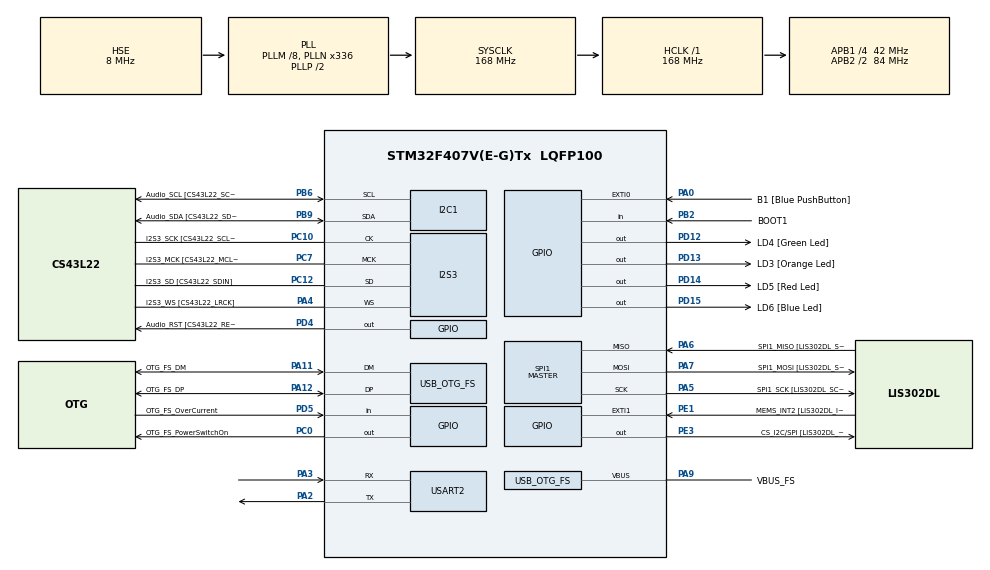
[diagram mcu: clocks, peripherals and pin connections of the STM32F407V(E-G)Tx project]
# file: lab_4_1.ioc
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FREERTOS.Tasks01=defaultTask,0,128,StartDefaultTask,Default,NULL,Dynamic,NULL,NULL
I2S3.AudioFreq-Half_Duplex_Master=I2S_AUDIOFREQ_96K
I2S3.ErrorAudioFreq=-2.34 %
I2S3.ErrorAudioFreq-Half_Duplex_Master=0.8 %
I2S3.FullDuplexMode=I2S_FULLDUPLEXMODE_DISABLE
I2S3.Instance=SPI$Index
I2S3.RealAudioFreq=93.75 KHz
I2S3.RealAudioFreq-Half_Duplex_Master=96.774 KHz
I2S3.VirtualMode=I2S_MODE_MASTER
Mcu.Family=STM32F4
Mcu.Name=STM32F407V(E-G)Tx
Mcu.Package=LQFP100
NVIC.OTG_FS_IRQn=true\:5\:0\:false\:false\:true\:true\:true\:true
NVIC.PriorityGroup=NVIC_PRIORITYGROUP_4
PA0-WKUP.GPIO_Label=B1 [Blue PushButton]
PA0-WKUP.GPIO_ModeDefaultEXTI=GPIO_MODE_EVT_RISING
PA0-WKUP.GPIO_PuPd=GPIO_NOPULL
PA0-WKUP.Signal=GPXTI0
PA10.GPIO_Label=OTG_FS_ID
PA10.GPIO_Mode=GPIO_MODE_AF_PP
PA10.GPIO_PuPd=GPIO_NOPULL
PA10.GPIO_Speed=GPIO_SPEED_FREQ_LOW
PA10.Signal=USB_OTG_FS_ID
PA11.GPIO_Label=OTG_FS_DM
PA11.GPIO_Mode=GPIO_MODE_AF_PP
PA11.GPIO_PuPd=GPIO_NOPULL
PA11.GPIO_Speed=GPIO_SPEED_FREQ_LOW
PA11.Mode=Host_Only
PA11.Signal=USB_OTG_FS_DM
PA12.GPIO_Label=OTG_FS_DP
PA12.GPIO_Mode=GPIO_MODE_AF_PP
PA12.GPIO_PuPd=GPIO_NOPULL
PA12.GPIO_Speed=GPIO_SPEED_FREQ_LOW
PA12.Mode=Host_Only
PA12.Signal=USB_OTG_FS_DP
PA13.GPIO_Label=SWDIO
PA13.Mode=Serial_Wire
PA13.Signal=SYS_JTMS-SWDIO
PA14.GPIO_Label=SWCLK
PA14.Mode=Serial_Wire
PA14.Signal=SYS_JTCK-SWCLK
PA2.Mode=Asynchronous
PA2.Signal=USART2_TX
PA3.Mode=Asynchronous
PA3.Signal=USART2_RX
PA4.GPIO_Label=I2S3_WS [CS43L22_LRCK]
PA4.GPIO_Mode=GPIO_MODE_AF_PP
PA4.GPIO_PuPd=GPIO_NOPULL
PA4.GPIO_Speed=GPIO_SPEED_FREQ_LOW
PA4.Mode=Half_Duplex_Master
PA4.Signal=I2S3_WS
PA5.GPIO_Label=SPI1_SCK [LIS302DL_SCL/SPC]
PA5.GPIO_Mode=GPIO_MODE_AF_PP
PA5.GPIO_PuPd=GPIO_NOPULL
PA5.GPIO_Speed=GPIO_SPEED_FREQ_LOW
PA5.Mode=Full_Duplex_Master
PA5.Signal=SPI1_SCK
PA6.GPIO_Label=SPI1_MISO [LIS302DL_SDO]
PA6.GPIO_Mode=GPIO_MODE_AF_PP
PA6.GPIO_PuPd=GPIO_NOPULL
PA6.GPIO_Speed=GPIO_SPEED_FREQ_LOW
PA6.Mode=Full_Duplex_Master
PA6.Signal=SPI1_MISO
PA7.GPIO_Label=SPI1_MOSI [LIS302DL_SDA/SDI/SDO]
PA7.GPIO_Mode=GPIO_MODE_AF_PP
PA7.GPIO_PuPd=GPIO_NOPULL
PA7.GPIO_Speed=GPIO_SPEED_FREQ_LOW
PA7.Mode=Full_Duplex_Master
PA7.Signal=SPI1_MOSI
PA9.GPIO_Label=VBUS_FS
PA9.GPIO_Mode=GPIO_MODE_INPUT
PA9.GPIO_PuPd=GPIO_NOPULL
PA9.Mode=Activate_VBUS
PA9.Signal=USB_OTG_FS_VBUS
PB10.GPIO_Label=CLK_IN [MP45DT02_CLK]
PB10.GPIO_Mode=GPIO_MODE_AF_PP
PB10.GPIO_PuPd=GPIO_NOPULL
PB10.GPIO_Speed=GPIO_SPEED_FREQ_LOW
PB10.Signal=I2S2_CK
PB2.GPIO_Label=BOOT1
PB2.GPIO_Mode=GPIO_MODE_INPUT
PB2.GPIO_PuPd=GPIO_NOPULL
PB2.Signal=GPIO_Input
PB3.GPIO_Label=SWO
PB3.Signal=SYS_JTDO-SWO
PB6.GPIO_Label=Audio_SCL [CS43L22_SCL]
PB6.GPIO_Mode=GPIO_MODE_AF_OD
PB6.GPIO_Pu=GPIO_PULLUP
PB6.GPIO_PuPd=GPIO_NOPULL
PB6.GPIO_Speed=GPIO_SPEED_FREQ_LOW
PB6.Mode=I2C
PB6.Signal=I2C1_SCL
PB9.GPIO_Label=Audio_SDA [CS43L22_SDA]
PB9.GPIO_Mode=GPIO_MODE_AF_OD
PB9.GPIO_Pu=GPIO_PULLUP
PB9.GPIO_PuPd=GPIO_NOPULL
PB9.GPIO_Speed=GPIO_SPEED_FREQ_LOW
PB9.Mode=I2C
PB9.Signal=I2C1_SDA
PC0.GPIO_Label=OTG_FS_PowerSwitchOn
PC0.GPIO_PuPd=GPIO_NOPULL
PC0.GPIO_Speed=GPIO_SPEED_FREQ_LOW
PC0.PinState=GPIO_PIN_SET
PC0.Signal=GPIO_Output
PC10.GPIO_Label=I2S3_SCK [CS43L22_SCLK]
PC10.GPIO_Mode=GPIO_MODE_AF_PP
PC10.GPIO_PuPd=GPIO_NOPULL
PC10.GPIO_Speed=GPIO_SPEED_FREQ_LOW
PC10.Mode=Half_Duplex_Master
PC10.Signal=I2S3_CK
PC12.GPIO_Label=I2S3_SD [CS43L22_SDIN]
PC12.GPIO_Mode=GPIO_MODE_AF_PP
PC12.GPIO_PuPd=GPIO_NOPULL
PC12.GPIO_Speed=GPIO_SPEED_FREQ_LOW
PC12.Mode=Half_Duplex_Master
PC12.Signal=I2S3_SD
PC14-OSC32_IN.GPIO_Label=PC14-OSC32_IN
PC14-OSC32_IN.Mode=LSE-External-Oscillator
PC14-OSC32_IN.Signal=RCC_OSC32_IN
PC15-OSC32_OUT.GPIO_Label=PC15-OSC32_OUT
PC15-OSC32_OUT.Mode=LSE-External-Oscillator
PC15-OSC32_OUT.Signal=RCC_OSC32_OUT
PC3.GPIO_Label=PDM_OUT [MP45DT02_DOUT]
PC3.GPIO_Mode=GPIO_MODE_AF_PP
PC3.GPIO_PuPd=GPIO_NOPULL
PC3.GPIO_Speed=GPIO_SPEED_FREQ_LOW
PC3.Signal=I2S2_SD
PC7.GPIO_Label=I2S3_MCK [CS43L22_MCLK]
PC7.GPIO_Mode=GPIO_MODE_AF_PP
PC7.GPIO_PuPd=GPIO_NOPULL
PC7.GPIO_Speed=GPIO_SPEED_FREQ_LOW
PC7.Mode=Master_Clock_Activated
PC7.Signal=I2S3_MCK
PD12.GPIO_Label=LD4 [Green Led]
PD12.GPIO_PuPd=GPIO_NOPULL
PD12.GPIO_Speed=GPIO_SPEED_FREQ_LOW
PD12.Signal=GPIO_Output
PD13.GPIO_Label=LD3 [Orange Led]
PD13.GPIO_PuPd=GPIO_NOPULL
PD13.GPIO_Speed=GPIO_SPEED_FREQ_LOW
PD13.Signal=GPIO_Output
PD14.GPIO_Label=LD5 [Red Led]
PD14.GPIO_PuPd=GPIO_NOPULL
PD14.GPIO_Speed=GPIO_SPEED_FREQ_LOW
PD14.Signal=GPIO_Output
PD15.GPIO_Label=LD6 [Blue Led]
PD15.GPIO_PuPd=GPIO_NOPULL
PD15.GPIO_Speed=GPIO_SPEED_FREQ_LOW
PD15.Signal=GPIO_Output
PD4.GPIO_Label=Audio_RST [CS43L22_RESET]
PD4.GPIO_PuPd=GPIO_NOPULL
PD4.GPIO_Speed=GPIO_SPEED_FREQ_LOW
PD4.Signal=GPIO_Output
PD5.GPIO_Label=OTG_FS_OverCurrent
PD5.GPIO_Mode=GPIO_MODE_INPUT
PD5.GPIO_PuPd=GPIO_NOPULL
PD5.Signal=GPIO_Input
PE1.GPIO_Label=MEMS_INT2 [LIS302DL_INT2]
PE1.GPIO_ModeDefaultEXTI=GPIO_MODE_EVT_RISING
PE1.GPIO_PuPd=GPIO_NOPULL
PE1.Signal=GPXTI1
PE3.GPIO_Label=CS_I2C/SPI [LIS302DL_CS_I2C/SPI]
PE3.GPIO_PuPd=GPIO_NOPULL
PE3.GPIO_Speed=GPIO_SPEED_FREQ_LOW
PE3.Signal=GPIO_Output
PH0-OSC_IN.GPIO_Label=PH0-OSC_IN
PH0-OSC_IN.Mode=HSE-External-Oscillator
PH0-OSC_IN.Signal=RCC_OSC_IN
PH1-OSC_OUT.GPIO_Label=PH1-OSC_OUT
PH1-OSC_OUT.Mode=HSE-External-Oscillator
PH1-OSC_OUT.Signal=RCC_OSC_OUT
ProjectManager.HeapSize=0x200
ProjectManager.StackSize=0x400
ProjectManager.TargetToolchain=STM32CubeIDE
RCC.48MHZClocksFreq_Value=48000000
RCC.AHBFreq_Value=168000000
RCC.APB1CLKDivider=RCC_HCLK_DIV4
RCC.APB1Freq_Value=42000000
RCC.APB1TimFreq_Value=84000000
RCC.APB2CLKDivider=RCC_HCLK_DIV2
RCC.APB2Freq_Value=84000000
RCC.APB2TimFreq_Value=168000000
RCC.CortexFreq_Value=168000000
RCC.HCLKFreq_Value=168000000
RCC.HSE_VALUE=8000000
RCC.HSI_VALUE=16000000
RCC.PLLM=8
RCC.PLLN=336
RCC.PLLQ=7
RCC.SYSCLKFreq_VALUE=168000000
RCC.SYSCLKSource=RCC_SYSCLKSOURCE_PLLCLK
RCC.VCOOutputFreq_Value=336000000
SPI1.BaudRatePrescaler-Full_Duplex_Master=SPI_BAUDRATEPRESCALER_2
SPI1.CalculateBaudRate-Full_Duplex_Master=42.0 MBits/s
SPI1.Direction=SPI_DIRECTION_2LINES
SPI1.Mode=SPI_MODE_MASTER
SPI1.Mode-Full_Duplex_Master=SPI_MODE_MASTER
SPI1.VirtualType=VM_MASTER
USART2.VirtualMode=VM_ASYNC
USB_HOST.BSP.number=1
USB_HOST.USBH_HandleTypeDef-CDC_FS=hUsbHostFS
USB_HOST.USBH_USE_OS-CDC_FS=0
USB_HOST.VirtualModeFS=Cdc
USB_HOST0.BSP.STBoard=false
USB_HOST0.BSP.api=Unknown
USB_HOST0.BSP.i2caddr=0
USB_HOST0.BSP.i2creg=0
USB_HOST0.BSP.instance=PC0
USB_HOST0.BSP.ip=GPIO
USB_HOST0.BSP.mode=Output
USB_HOST0.BSP.name=Drive_VBUS_FS
USB_HOST0.BSP.solution=PC0
USB_OTG_FS.VirtualMode=Host_Only
USB_OTG_FS.phy_itface=HCD_PHY_EMBEDDED
VP_FREERTOS_VS_CMSIS_V1.Mode=CMSIS_V1
VP_USB_HOST_VS_USB_HOST_CDC_FS.Mode=CDC_FS
board=STM32F407G-DISC1

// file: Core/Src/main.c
/* USER CODE BEGIN Header */
/**
 ******************************************************************************
 * @file           : main.c
 * @brief          : Main program body
 ******************************************************************************
 * @attention
 *
 * Copyright (c) 2022 STMicroelectronics.
 * All rights reserved.
 *
 * This software is licensed under terms that can be found in the LICENSE file
 * in the root directory of this software component.
 * If no LICENSE file comes with this software, it is provided AS-IS.
 *
 ******************************************************************************
 */
/* USER CODE END Header */
#include "main.h"
#include "cmsis_os.h"
#include "usb_host.h"

I2C_HandleTypeDef hi2c1;

I2S_HandleTypeDef hi2s3;

SPI_HandleTypeDef hspi1;

UART_HandleTypeDef huart2;

osThreadId defaultTaskHandle;

void SystemClock_Config(void);
static void MX_GPIO_Init(void);
static void MX_I2C1_Init(void);
static void MX_I2S3_Init(void);
static void MX_SPI1_Init(void);
static void MX_USART2_UART_Init(void);
void StartDefaultTask(void const * argument);

/* USER CODE BEGIN 0 */

void led_thread(void const *args) {
	while (1) {
		HAL_GPIO_TogglePin(GPIOD, GPIO_PIN_14);
		osDelay(9);
	}
}

void letterA_thread(void const *args) {
	char c = 'A';
	while (1) {
		HAL_UART_Transmit(&huart2, &c, 1, 100);
		osDelay(50);
	}
}

void letterB_thread(void const *args) {
	char c = 'B';
	while (1) {
		HAL_UART_Transmit(&huart2, &c, 1, 100);
		osDelay(128);
	}
}

/* USER CODE END 0 */

int main(void)
{

  /* MCU Configuration--------------------------------------------------------*/

  /* Reset of all peripherals, Initializes the Flash interface and the Systick. */
  HAL_Init();

  /* Configure the system clock */
  SystemClock_Config();

  /* Initialize all configured peripherals */
  MX_GPIO_Init();
  MX_I2C1_Init();
  MX_I2S3_Init();
  MX_SPI1_Init();
  MX_USART2_UART_Init();

  /* Create the thread(s) */
  /* definition and creation of defaultTask */
  osThreadDef(defaultTask, StartDefaultTask, osPriorityNormal, 0, 128);
  defaultTaskHandle = osThreadCreate(osThread(defaultTask), NULL);

  /* Start scheduler */
  osKernelStart();

  /* We should never get here as control is now taken by the scheduler */
  /* Infinite loop */
	while (1) {

	}
}

void SystemClock_Config(void)
{
  RCC_OscInitTypeDef RCC_OscInitStruct = {0};
  RCC_ClkInitTypeDef RCC_ClkInitStruct = {0};

  /** Configure the main internal regulator output voltage
  */
  __HAL_RCC_PWR_CLK_ENABLE();
  __HAL_PWR_VOLTAGESCALING_CONFIG(PWR_REGULATOR_VOLTAGE_SCALE1);
  /** Initializes the RCC Oscillators according to the specified parameters
  * in the RCC_OscInitTypeDef structure.
  */
  RCC_OscInitStruct.OscillatorType = RCC_OSCILLATORTYPE_HSE;
  RCC_OscInitStruct.HSEState = RCC_HSE_ON;
  RCC_OscInitStruct.PLL.PLLState = RCC_PLL_ON;
  RCC_OscInitStruct.PLL.PLLSource = RCC_PLLSOURCE_HSE;
  RCC_OscInitStruct.PLL.PLLM = 8;
  RCC_OscInitStruct.PLL.PLLN = 336;
  RCC_OscInitStruct.PLL.PLLP = RCC_PLLP_DIV2;
  RCC_OscInitStruct.PLL.PLLQ = 7;
  if (HAL_RCC_OscConfig(&RCC_OscInitStruct) != HAL_OK)
  {
    Error_Handler();
  }
  /** Initializes the CPU, AHB and APB buses clocks
  */
  RCC_ClkInitStruct.ClockType = RCC_CLOCKTYPE_HCLK|RCC_CLOCKTYPE_SYSCLK
                              |RCC_CLOCKTYPE_PCLK1|RCC_CLOCKTYPE_PCLK2;
  RCC_ClkInitStruct.SYSCLKSource = RCC_SYSCLKSOURCE_PLLCLK;
  RCC_ClkInitStruct.AHBCLKDivider = RCC_SYSCLK_DIV1;
  RCC_ClkInitStruct.APB1CLKDivider = RCC_HCLK_DIV4;
  RCC_ClkInitStruct.APB2CLKDivider = RCC_HCLK_DIV2;

  if (HAL_RCC_ClockConfig(&RCC_ClkInitStruct, FLASH_LATENCY_5) != HAL_OK)
  {
    Error_Handler();
  }
}

static void MX_I2C1_Init(void)
{

  hi2c1.Instance = I2C1;
  hi2c1.Init.ClockSpeed = 100000;
  hi2c1.Init.DutyCycle = I2C_DUTYCYCLE_2;
  hi2c1.Init.OwnAddress1 = 0;
  hi2c1.Init.AddressingMode = I2C_ADDRESSINGMODE_7BIT;
  hi2c1.Init.DualAddressMode = I2C_DUALADDRESS_DISABLE;
  hi2c1.Init.OwnAddress2 = 0;
  hi2c1.Init.GeneralCallMode = I2C_GENERALCALL_DISABLE;
  hi2c1.Init.NoStretchMode = I2C_NOSTRETCH_DISABLE;
  if (HAL_I2C_Init(&hi2c1) != HAL_OK)
  {
    Error_Handler();
  }

}

static void MX_I2S3_Init(void)
{

  hi2s3.Instance = SPI3;
  hi2s3.Init.Mode = I2S_MODE_MASTER_TX;
  hi2s3.Init.Standard = I2S_STANDARD_PHILIPS;
  hi2s3.Init.DataFormat = I2S_DATAFORMAT_16B;
  hi2s3.Init.MCLKOutput = I2S_MCLKOUTPUT_ENABLE;
  hi2s3.Init.AudioFreq = I2S_AUDIOFREQ_96K;
  hi2s3.Init.CPOL = I2S_CPOL_LOW;
  hi2s3.Init.ClockSource = I2S_CLOCK_PLL;
  hi2s3.Init.FullDuplexMode = I2S_FULLDUPLEXMODE_DISABLE;
  if (HAL_I2S_Init(&hi2s3) != HAL_OK)
  {
    Error_Handler();
  }

}

static void MX_SPI1_Init(void)
{

  /* SPI1 parameter configuration*/
  hspi1.Instance = SPI1;
  hspi1.Init.Mode = SPI_MODE_MASTER;
  hspi1.Init.Direction = SPI_DIRECTION_2LINES;
  hspi1.Init.DataSize = SPI_DATASIZE_8BIT;
  hspi1.Init.CLKPolarity = SPI_POLARITY_LOW;
  hspi1.Init.CLKPhase = SPI_PHASE_1EDGE;
  hspi1.Init.NSS = SPI_NSS_SOFT;
  hspi1.Init.BaudRatePrescaler = SPI_BAUDRATEPRESCALER_2;
  hspi1.Init.FirstBit = SPI_FIRSTBIT_MSB;
  hspi1.Init.TIMode = SPI_TIMODE_DISABLE;
  hspi1.Init.CRCCalculation = SPI_CRCCALCULATION_DISABLE;
  hspi1.Init.CRCPolynomial = 10;
  if (HAL_SPI_Init(&hspi1) != HAL_OK)
  {
    Error_Handler();
  }

}

static void MX_USART2_UART_Init(void)
{

  huart2.Instance = USART2;
  huart2.Init.BaudRate = 115200;
  huart2.Init.WordLength = UART_WORDLENGTH_8B;
  huart2.Init.StopBits = UART_STOPBITS_1;
  huart2.Init.Parity = UART_PARITY_NONE;
  huart2.Init.Mode = UART_MODE_TX_RX;
  huart2.Init.HwFlowCtl = UART_HWCONTROL_NONE;
  huart2.Init.OverSampling = UART_OVERSAMPLING_16;
  if (HAL_UART_Init(&huart2) != HAL_OK)
  {
    Error_Handler();
  }

}

static void MX_GPIO_Init(void)
{
  GPIO_InitTypeDef GPIO_InitStruct = {0};

  /* GPIO Ports Clock Enable */
  __HAL_RCC_GPIOE_CLK_ENABLE();
  __HAL_RCC_GPIOC_CLK_ENABLE();
  __HAL_RCC_GPIOH_CLK_ENABLE();
  __HAL_RCC_GPIOA_CLK_ENABLE();
  __HAL_RCC_GPIOB_CLK_ENABLE();
  __HAL_RCC_GPIOD_CLK_ENABLE();

  /*Configure GPIO pin Output Level */
  HAL_GPIO_WritePin(CS_I2C_SPI_GPIO_Port, CS_I2C_SPI_Pin, GPIO_PIN_RESET);

  /*Configure GPIO pin Output Level */
  HAL_GPIO_WritePin(OTG_FS_PowerSwitchOn_GPIO_Port, OTG_FS_PowerSwitchOn_Pin, GPIO_PIN_SET);

  /*Configure GPIO pin Output Level */
  HAL_GPIO_WritePin(GPIOD, LD4_Pin|LD3_Pin|LD5_Pin|LD6_Pin
                          |Audio_RST_Pin, GPIO_PIN_RESET);

  /*Configure GPIO pin : CS_I2C_SPI_Pin */
  GPIO_InitStruct.Pin = CS_I2C_SPI_Pin;
  GPIO_InitStruct.Mode = GPIO_MODE_OUTPUT_PP;
  GPIO_InitStruct.Pull = GPIO_NOPULL;
  GPIO_InitStruct.Speed = GPIO_SPEED_FREQ_LOW;
  HAL_GPIO_Init(CS_I2C_SPI_GPIO_Port, &GPIO_InitStruct);

  /*Configure GPIO pin : OTG_FS_PowerSwitchOn_Pin */
  GPIO_InitStruct.Pin = OTG_FS_PowerSwitchOn_Pin;
  GPIO_InitStruct.Mode = GPIO_MODE_OUTPUT_PP;
  GPIO_InitStruct.Pull = GPIO_NOPULL;
  GPIO_InitStruct.Speed = GPIO_SPEED_FREQ_LOW;
  HAL_GPIO_Init(OTG_FS_PowerSwitchOn_GPIO_Port, &GPIO_InitStruct);

  /*Configure GPIO pin : PDM_OUT_Pin */
  GPIO_InitStruct.Pin = PDM_OUT_Pin;
  GPIO_InitStruct.Mode = GPIO_MODE_AF_PP;
  GPIO_InitStruct.Pull = GPIO_NOPULL;
  GPIO_InitStruct.Speed = GPIO_SPEED_FREQ_LOW;
  GPIO_InitStruct.Alternate = GPIO_AF5_SPI2;
  HAL_GPIO_Init(PDM_OUT_GPIO_Port, &GPIO_InitStruct);

  /*Configure GPIO pin : B1_Pin */
  GPIO_InitStruct.Pin = B1_Pin;
  GPIO_InitStruct.Mode = GPIO_MODE_EVT_RISING;
  GPIO_InitStruct.Pull = GPIO_NOPULL;
  HAL_GPIO_Init(B1_GPIO_Port, &GPIO_InitStruct);

  /*Configure GPIO pin : BOOT1_Pin */
  GPIO_InitStruct.Pin = BOOT1_Pin;
  GPIO_InitStruct.Mode = GPIO_MODE_INPUT;
  GPIO_InitStruct.Pull = GPIO_NOPULL;
  HAL_GPIO_Init(BOOT1_GPIO_Port, &GPIO_InitStruct);

  /*Configure GPIO pin : CLK_IN_Pin */
  GPIO_InitStruct.Pin = CLK_IN_Pin;
  GPIO_InitStruct.Mode = GPIO_MODE_AF_PP;
  GPIO_InitStruct.Pull = GPIO_NOPULL;
  GPIO_InitStruct.Speed = GPIO_SPEED_FREQ_LOW;
  GPIO_InitStruct.Alternate = GPIO_AF5_SPI2;
  HAL_GPIO_Init(CLK_IN_GPIO_Port, &GPIO_InitStruct);

  /*Configure GPIO pins : LD4_Pin LD3_Pin LD5_Pin LD6_Pin
                           Audio_RST_Pin */
  GPIO_InitStruct.Pin = LD4_Pin|LD3_Pin|LD5_Pin|LD6_Pin
                          |Audio_RST_Pin;
  GPIO_InitStruct.Mode = GPIO_MODE_OUTPUT_PP;
  GPIO_InitStruct.Pull = GPIO_NOPULL;
  GPIO_InitStruct.Speed = GPIO_SPEED_FREQ_LOW;
  HAL_GPIO_Init(GPIOD, &GPIO_InitStruct);

  /*Configure GPIO pin : OTG_FS_OverCurrent_Pin */
  GPIO_InitStruct.Pin = OTG_FS_OverCurrent_Pin;
  GPIO_InitStruct.Mode = GPIO_MODE_INPUT;
  GPIO_InitStruct.Pull = GPIO_NOPULL;
  HAL_GPIO_Init(OTG_FS_OverCurrent_GPIO_Port, &GPIO_InitStruct);

  /*Configure GPIO pin : MEMS_INT2_Pin */
  GPIO_InitStruct.Pin = MEMS_INT2_Pin;
  GPIO_InitStruct.Mode = GPIO_MODE_EVT_RISING;
  GPIO_InitStruct.Pull = GPIO_NOPULL;
  HAL_GPIO_Init(MEMS_INT2_GPIO_Port, &GPIO_InitStruct);

}

void StartDefaultTask(void const * argument)
{
  /* init code for USB_HOST */
  MX_USB_HOST_Init();
  /* USER CODE BEGIN 5 */
	osThreadDef(led, led_thread, osPriorityNormal, 0, 128);
	osThreadId ledTaskHandle = osThreadCreate(osThread(led), NULL);
	osThreadDef(letterA, letterA_thread, osPriorityNormal, 0, 128);
	osThreadId letterATaskHandle = osThreadCreate(osThread(letterA), NULL);
	osThreadDef(letterB, letterB_thread, osPriorityNormal, 0, 128);
	osThreadId letterBTaskHandle = osThreadCreate(osThread(letterB), NULL);
	/* Infinite loop */
	for (;;) {
		osDelay(1);
	}
  /* USER CODE END 5 */
}

void Error_Handler(void)
{
	__disable_irq();
	while (1) {
	}
}
